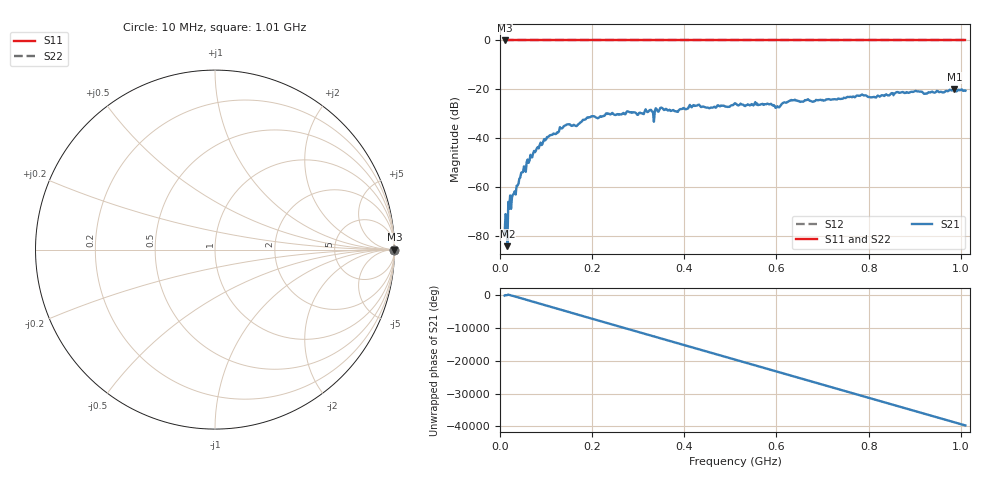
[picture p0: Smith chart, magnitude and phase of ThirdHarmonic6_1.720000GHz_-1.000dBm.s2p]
! 8/16/2025 8:42:22 PM
! C:\ANRITSUVNA\TEMP\TEMP.S2P
! CHANNEL.1
! TR.MEASUREMENT
! RAW.DATA
! RF.CORRECTION.OFF
! AVERAGING.OFF
! IF.BANDWIDTH: 5KHZ
! SWEEPTYPE:  FREQ.SWEEP(Linear)
! Reference Plane Port Info
! PORT:  PORT1  PORT2
! DISTANCE:  0  m  0  m
! TIME:  0  s  0  s
! PHASE.OFFSET:  0  deg.  0  deg.
! LOSS:  0  dB  0  dB
! REF.LOSS:  0  dB  0  dB
! REF.FREQ:  0  Hz  0  Hz
! Power Info
! POWER:  -20  dBm  -20  dBm
! EFF.POWER:  -20  dBm  -20  dBm
! SOURCE.ATTEN:  0  dB  0  dB
! TEST.ATTEN:  0  dB  0  dB
# GHZ S RI R 50.0
! FREQ.GHZ  S11RE  S11IM  S21RE  S21IM  S12RE  S12IM  S22RE  S22IM
!; PortSelection: Port_12
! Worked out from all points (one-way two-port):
!   501 points, 10 MHz to 1.01 GHz, reference 50 ohm
!   highest |S21| = -19.90 dB at 986 MHz (marker M1); lowest = -84.0 dB at 16 MHz (marker M2)
!   lowest |S11| = 0.0 dB at 10 MHz (marker M3)
!   |S11| at or under -10 dB: nowhere
!   |S22| runs from 0.0 to 0.0 dB; largest |S21 - S12| = 1.1
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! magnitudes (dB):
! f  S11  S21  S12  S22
! 10 MHz  0.0  -79.4  0.0  0.0
! 12 MHz  0.0  -70.9  0.0  0.0
! 16 MHz  0.0  -84.0  0.0  0.0
! 20 MHz  0.0  -68.6  0.0  0.0
! 22 MHz  0.0  -63.3  0.0  0.0
! 48 MHz  0.0  -53.8  0.0  0.0
! 78 MHz  0.0  -44.9  0.0  0.0
! 134 MHz  0.0  -35.9  0.0  0.0
! 178 MHz  0.0  -33.0  0.0  0.0
! 234 MHz  0.0  -30.0  0.0  0.0
! 332 MHz  0.0  -29.3  0.0  0.0
! 344 MHz  0.0  -29.1  0.0  0.0
! 382 MHz  0.0  -28.9  0.0  0.0
! 416 MHz  0.0  -27.3  0.0  0.0
! 456 MHz  0.0  -27.6  0.0  0.0
! 510 MHz  0.0  -25.6  0.0  0.0
! 602 MHz  0.0  -26.8  0.0  0.0
! 632 MHz  0.0  -24.3  0.0  0.0
! 678 MHz  0.0  -25.0  0.0  0.0
! 844 MHz  0.0  -22.5  0.0  0.0
! 986 MHz  0.0  -19.9  0.0  0.0
! 1.01 GHz  0.0  -20.5  0.0  0.0
